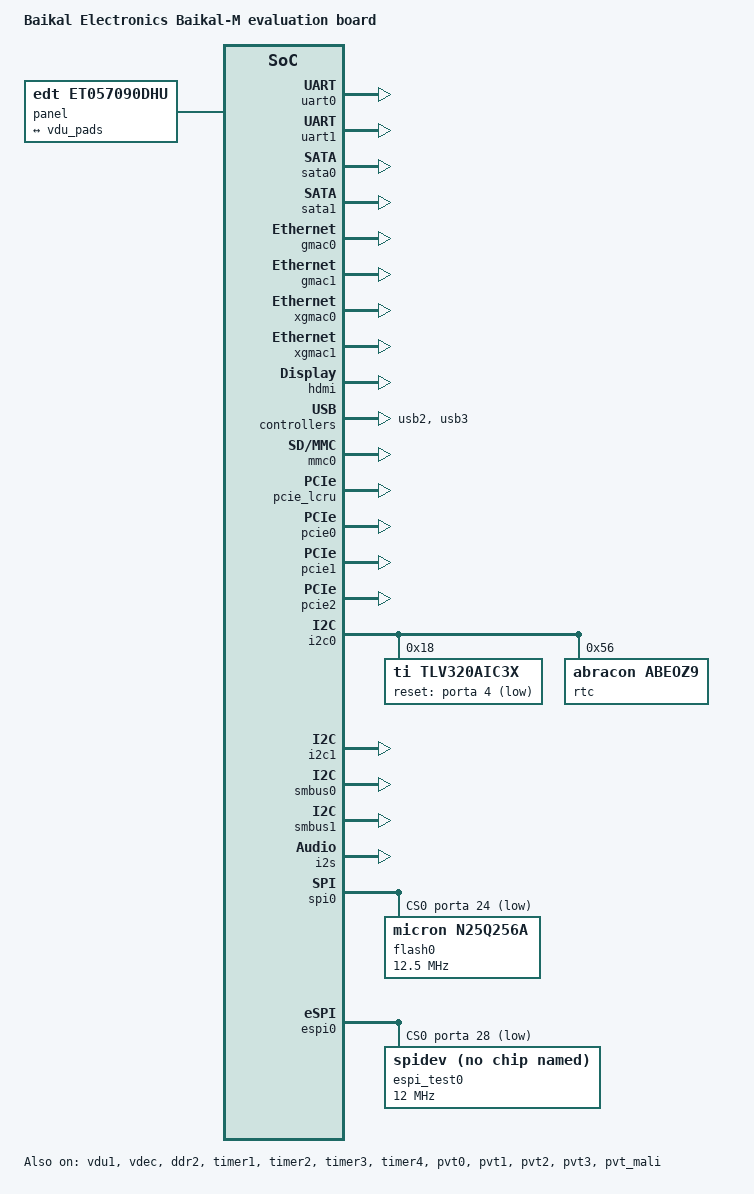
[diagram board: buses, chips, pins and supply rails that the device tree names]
// SPDX-License-Identifier: GPL-2.0
/*
 * Baikal-M evaluation board device tree (test version)
 *
 */

/dts-v1/;

#include <dt-bindings/interrupt-controller/arm-gic.h>
#include <dt-bindings/gpio/gpio.h>
#include <dt-bindings/sound/tlv320aic31xx-micbias.h>

#include "bm-soc.dtsi"
#include "bm-mali.dtsi"

/ {

	model = "Baikal Electronics Baikal-M evaluation board";
	compatible = "baikal,baikal-m";
	#address-cells = <2>;
	#size-cells = <2>;

	chosen {
		/*stdout-path = "serial0:115200n8";
		bootargs = "root=/dev/ram rw rootwait console=ttyS0,115200n8 earlyprintk=uart8250,mmio32,0x20230000,115200";
		linux,initrd-start = <0x0 0x80490000>;
		linux,initrd-end = <0x0 0x81490000>;*/
	};

	/*
	reserved-memory {
		#address-cells = <1>;
		#size-cells = <1>;
		ranges;
		display_reserved: framebuffer@90200000 {
			reg = <0x90200000 0xfe00000>;
		};
	};*/

	panel: panel {
		compatible = "edt,et057090dhu";

		port {
			lcd_panel: endpoint {
				remote-endpoint = <&vdu_pads>;
			};
		};
	};
	sound {
			compatible = "baikal,snd_soc_be";

			baikal,cpu-dai = <&i2s>;
			baikal,audio-codec = <&tlv320aic3x>;

		};

};

&uart0 {
	status = "okay";
};

&uart1 {
	status = "okay";
};

&sata0 {
	status = "okay";
};

&sata1 {
	status = "okay";
};

&gmac0 {
	status = "okay";
};

&gmac1 {
	status = "okay";
};

&xgmac0 {
	status = "okay";
};

&xgmac1 {
	status = "okay";
};

&hdmi {
	status = "okay";
};

&vdu0 {
	port {
		vdu_pads: endpoint {
			remote-endpoint = <&lcd_panel>;
		};
	};
};


&vdu1 {
	status = "okay";
};

&vdec {
	status = "okay";
};

&gpio {
	status = "okay";
};

&ddr2 {
	status = "okay";
};

&gpu {
	system-coherency = <0>;
};

&usb2 {
	status = "okay";
};

&mmc0 {
	status = "okay";
};

&usb3 {
	status = "okay";
};

&pcie_lcru {
	status = "okay";
};

&pcie0 {
	status = "okay";
};

&pcie1 {
	status = "okay";
};

&pcie2 {
	status = "okay";
};

&timer1 {
	status = "okay";
};

&timer2 {
	status = "okay";
};

&timer3 {
	status = "okay";
};

&timer4 {
	status = "okay";
};

&pvt0 {
	status = "okay";
};

&pvt1 {
	status = "okay";
};

&pvt2 {
	status = "okay";
};

&pvt3 {
	status = "okay";
};

&pvt_mali {
	status = "okay";
};

&i2c0 {
	status = "okay";

	tlv320aic3x: tlv320aic3x@18 {
		#sound-dai-cells = <0>;
		compatible = "ti,tlv320aic3x";
		reg = <0x18>;
		gpio-reset = <&porta 4 GPIO_ACTIVE_LOW>;
		status = "okay";

		ai31xx-micbias-vg = <MICBIAS_2_0V>;
	};

	rtc@56 {
		compatible = "abracon,abeoz9";
		reg = <0x56>;
	};
};

&i2c1 {
	status = "okay";
};

&smbus0 {
	status = "okay";
};

&smbus1 {
	status = "okay";
};

&i2s {
	status = "okay";
	sound-dai = <&tlv320aic3x>;
	system-clock-frequency = <12000000>;
};

&spi0 {
	num-cs = <4>;

	cs-gpios =
		<&porta 24 1>,   /* ss0 xp8  - DD53 normal flash */
		<&porta 25 1>,   /* ss1 xp9  */
		<&porta 26 1>,   /* ss2 xp10 */
		<&porta 27 1>;   /* ss3 xp11 */
	status = "okay";

	/* SPI flash chip #1 */
	flash0: m25p80@0 {
		compatible = "micron,n25q256a", "jedec,spi-nor";
		reg = <0>;
		#address-cells = <1>;
		#size-cells = <1>;
		spi-max-frequency = <12500000>;
		status = "okay";

		/* Flash chip0 partitions */
		mtd0@00000000 {
			label = "bl1";
			reg = <0x00000000 0x00040000>;
			read-only;
		};

		mtd1@00040000 {
			label = "fip";
			reg = <0x00040000 0x007c0000>;
		};

		mtd2@00800000 {
			label = "rescue";
			reg = <0x00800000 0x01800000>;
		};
	};
};

#if 0
/* undefined */
&spi1 {
	num-cs = <4>;
	cs-gpios =
		<&porta 20 1>,   /* ss0 xp15  - DD57 boot flash */
		<&porta 21 1>,   /* ss1 xp16 */
		<&porta 22 1>,   /* ss2 xp17 */
		<&porta 23 1>;   /* ss3 xp18 */
	status = "okay";

	/* SPI flash chip #2 */
	flash0: m25p80@0 {
		compatible = "micron,n25q256a", "jedec,spi-nor";
		reg = <0>;
		#address-cells = <1>;
		#size-cells = <1>;
		spi-max-frequency = <12500000>;
		status = "okay";

		/* Flash chip1 partitions */
		mtd0@00000000 {
			label = "fip_backup";
			reg = <0x00000000 0x00400000>;
			read-only;
		};

		mtd1@00400000 {
			label = "env_backup";
			reg = <0x00400000 0x00100000>;
			read-only;
		};

		mtd2@00500000 {
			label = "data1";
			reg = <0x00500000 0x01b00000>;
		};
	};
};
#endif

&espi0 {
	cs-gpios = <&porta 28 1>;   /* todo: get real gpio */
	status = "okay";

	/* test device #0 */
	espi_test0 {
		compatible = "rohm,dh2228fv"; /* same as spidev */
		reg = <0>;
		spi-max-frequency = <12000000>;
		status = "okay";
	};
};
